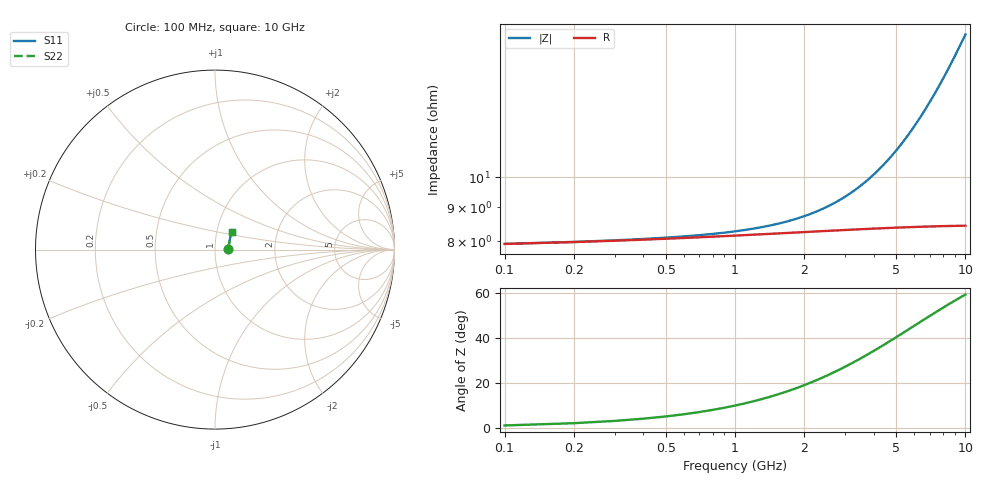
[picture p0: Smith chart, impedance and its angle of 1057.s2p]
# Hz S RI R 50.00
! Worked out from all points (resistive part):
!   100 points, 100 MHz to 10 GHz, reference 50 ohm
!   read as one part in series: R = 7.92 ohm at 100 MHz
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1e8  0.0734 0.00101  0.9266 -0.00142  0.9266 -0.00142  0.0734 0.00101
2e8  0.0738 0.00203  0.9262 -0.00283  0.9262 -0.00283  0.0738 0.00203
3e8  0.0742 0.00304  0.9258 -0.00424  0.9258 -0.00424  0.0742 0.00304
4e8  0.0744 0.00405  0.9256 -0.00566  0.9256 -0.00566  0.0744 0.00405
8e8  0.0752 0.00808  0.9248 -0.0113  0.9248 -0.0113  0.0752 0.00808
1.3e9  0.076 0.0131  0.924 -0.0183  0.924 -0.0183  0.076 0.0131
1.6e9  0.0764 0.0161  0.9236 -0.0226  0.9236 -0.0226  0.0764 0.0161
1.8e9  0.0766 0.0181  0.9233 -0.0254  0.9233 -0.0254  0.0766 0.0181
2.2e9  0.0771 0.0221  0.9228 -0.031  0.9228 -0.031  0.0771 0.0221
2.6e9  0.0777 0.0261  0.9223 -0.0366  0.9223 -0.0366  0.0777 0.0261
3e9  0.0782 0.0301  0.9217 -0.0422  0.9217 -0.0422  0.0782 0.0301
3.4e9  0.0787 0.0341  0.9211 -0.0478  0.9211 -0.0478  0.0787 0.0341
3.8e9  0.0793 0.0381  0.9205 -0.0534  0.9205 -0.0534  0.0793 0.0381
4.2e9  0.0799 0.042  0.9199 -0.059  0.9199 -0.059  0.0799 0.042
4.6e9  0.0806 0.046  0.9192 -0.0645  0.9192 -0.0645  0.0806 0.046
5.1e9  0.0814 0.0509  0.9183 -0.0715  0.9183 -0.0715  0.0814 0.0509
5.7e9  0.0826 0.0568  0.9171 -0.0798  0.9171 -0.0798  0.0826 0.0568
6.7e9  0.0846 0.0666  0.915 -0.0936  0.915 -0.0936  0.0846 0.0666
7.6e9  0.0867 0.0754  0.9128 -0.106  0.9128 -0.106  0.0867 0.0754
8.4e9  0.0887 0.0831  0.9107 -0.1169  0.9107 -0.1169  0.0887 0.0831
9.2e9  0.0909 0.0907  0.9083 -0.1278  0.9083 -0.1278  0.0909 0.0907
1e10  0.0933 0.0983  0.9058 -0.1386  0.9058 -0.1386  0.0933 0.0983
